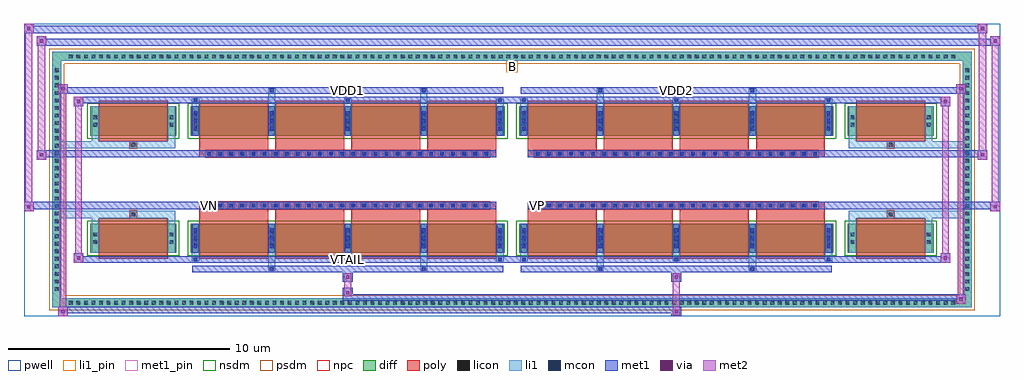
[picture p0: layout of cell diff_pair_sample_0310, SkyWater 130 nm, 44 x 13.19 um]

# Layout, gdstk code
import gdstk
lib = gdstk.Library(unit=1e-6, precision=5e-09)
def R(c, l, rs):  # rectangles x0, y0, x1, y1
    for r in rs: c.add(gdstk.rectangle(r[:2], r[2:], *l))
def A(c, l, x, y, w, h, nx, ny, dx, dy):  # array of equal rectangles
    R(c, l, [(x+i*dx, y+j*dy, x+i*dx+w, y+j*dy+h) for i in range(nx) for j in range(ny)])
def P(c, l, *ps):  # polygons
    for p in ps: c.add(gdstk.Polygon(p, *l))
pwell = (64, 44)
diff = (65, 20)
poly = (66, 20)
licon = (66, 44)
li1_pin = (67, 16)
li1 = (67, 20)
mcon = (67, 44)
met1_pin = (68, 16)
met1 = (68, 20)
via = (68, 44)
met2 = (69, 20)
nsdm = (93, 44)
psdm = (94, 20)
npc = (95, 20)

diff_pair_sample_0310 = lib.new_cell('diff_pair_sample_0310')
R(diff_pair_sample_0310, pwell, [(-22,-6.16,22,7.03), (-19.32,-4.35,-0.01,-0.805), (0.01,-4.35,19.32,-0.805), (-19.32,0.805,-0.01,4.35), (0.01,0.805,19.32,4.35)])
A(diff_pair_sample_0310, diff, -20.095, -5.76, 0.41, 0.41, 118, 2, 0.34, 11.11)
A(diff_pair_sample_0310, diff, -20.73, -5.135, 0.41, 0.41, 1, 30, 0, 0.34)
A(diff_pair_sample_0310, diff, 20.32, -5.135, 0.41, 0.41, 1, 30, 0, 0.34)
R(diff_pair_sample_0310, diff, [(-20.095,-5.76,20.095,-5.35), (-20.73,-5.135,-20.32,5.135), (20.32,-5.135,20.73,5.135), (-19.01,-3.305,-15.13,-1.985), (-14.49,-3.305,-0.32,-1.985), (0.32,-3.305,14.49,-1.985), (15.13,-3.305,19.01,-1.985), (-19.01,1.985,-15.13,3.305), (-14.49,1.985,-0.32,3.305), (0.32,1.985,14.49,3.305), (15.13,1.985,19.01,3.305), (-20.095,5.35,20.095,5.76)])
P(diff_pair_sample_0310, diff, [(20.73,5.76),(-20.73,5.76),(-20.73,-5.35),(-20.32,-5.35),(-20.32,5.35),(20.32,5.35),(20.32,-5.35),(-20.32,-5.35),(-20.73,-5.35),(-20.73,-5.76),(20.73,-5.76)])
A(diff_pair_sample_0310, poly, -14.1, -3.555, 3.1, 1.82, 4, 2, 3.43, 5.29)
A(diff_pair_sample_0310, poly, 0.71, -3.555, 3.1, 1.82, 4, 2, 3.43, 5.29)
A(diff_pair_sample_0310, poly, -14.1, -1.735, 3.1, 0.4, 4, 2, 3.43, 3.07)
A(diff_pair_sample_0310, poly, 0.71, -1.735, 3.1, 0.4, 4, 2, 3.43, 3.07)
A(diff_pair_sample_0310, poly, -13.82, -1.335, 0.33, 0.33, 26, 2, 0.5, 2.34)
A(diff_pair_sample_0310, poly, 0.99, -1.335, 0.33, 0.33, 26, 2, 0.5, 2.34)
R(diff_pair_sample_0310, poly, [(-18.62,-3.555,-15.52,-1.735), (15.52,-3.555,18.62,-1.735), (-17.235,-1.735,-16.905,-1.405), (-17.235,-1.735,-16.905,-1.405), (16.905,-1.735,17.235,-1.405), (16.905,-1.735,17.235,-1.405), (-14.1,-1.335,-0.71,-1.005), (0.71,-1.335,14.1,-1.005), (-14.1,1.005,-0.71,1.335), (0.71,1.005,14.1,1.335), (-17.235,1.405,-16.905,1.735), (-17.235,1.405,-16.905,1.735), (16.905,1.405,17.235,1.735), (16.905,1.405,17.235,1.735), (-18.62,1.735,-15.52,3.555), (15.52,1.735,18.62,3.555)])
A(diff_pair_sample_0310, licon, -19.975, -5.64, 0.17, 0.17, 118, 2, 0.34, 11.11)
A(diff_pair_sample_0310, licon, -20.61, -5.015, 0.17, 0.17, 1, 30, 0, 0.34)
A(diff_pair_sample_0310, licon, 20.44, -5.015, 0.17, 0.17, 1, 30, 0, 0.34)
A(diff_pair_sample_0310, licon, -14.35, -2.9, 0.17, 0.17, 5, 2, 3.43, 0.34)
A(diff_pair_sample_0310, licon, 0.46, -2.9, 0.17, 0.17, 5, 2, 3.43, 0.34)
A(diff_pair_sample_0310, licon, -13.74, -1.255, 0.17, 0.17, 26, 2, 0.5, 2.34)
A(diff_pair_sample_0310, licon, 1.07, -1.255, 0.17, 0.17, 26, 2, 0.5, 2.34)
A(diff_pair_sample_0310, licon, -14.35, 2.39, 0.17, 0.17, 5, 2, 3.43, 0.34)
A(diff_pair_sample_0310, licon, 0.46, 2.39, 0.17, 0.17, 5, 2, 3.43, 0.34)
R(diff_pair_sample_0310, licon, [(-18.87,-2.9,-18.7,-2.73), (-15.44,-2.9,-15.27,-2.73), (15.27,-2.9,15.44,-2.73), (18.7,-2.9,18.87,-2.73), (-18.87,-2.56,-18.7,-2.39), (-15.44,-2.56,-15.27,-2.39), (15.27,-2.56,15.44,-2.39), (18.7,-2.56,18.87,-2.39), (-17.155,-1.655,-16.985,-1.485), (16.985,-1.655,17.155,-1.485), (-17.155,1.485,-16.985,1.655), (16.985,1.485,17.155,1.655), (-18.87,2.39,-18.7,2.56), (-15.44,2.39,-15.27,2.56), (15.27,2.39,15.44,2.56), (18.7,2.39,18.87,2.56), (-18.87,2.73,-18.7,2.9), (-15.44,2.73,-15.27,2.9), (15.27,2.73,15.44,2.9), (18.7,2.73,18.87,2.9)])
R(diff_pair_sample_0310, li1_pin, [(-0.25,4.85,0.25,5.35)])
A(diff_pair_sample_0310, li1, -20.055, -5.72, 0.33, 0.33, 118, 2, 0.34, 11.11)
A(diff_pair_sample_0310, li1, -20.69, -5.095, 0.33, 0.33, 1, 30, 0, 0.34)
A(diff_pair_sample_0310, li1, 20.36, -5.095, 0.33, 0.33, 1, 30, 0, 0.34)
A(diff_pair_sample_0310, li1, -14.43, -3.68, 0.33, 0.375, 3, 2, 6.86, 6.985)
A(diff_pair_sample_0310, li1, -14.35, -3.68, 0.17, 0.17, 3, 2, 6.86, 7.19)
A(diff_pair_sample_0310, li1, 0.38, -3.68, 0.33, 0.375, 3, 2, 6.86, 6.985)
A(diff_pair_sample_0310, li1, 0.46, -3.68, 0.17, 0.17, 3, 2, 6.86, 7.19)
A(diff_pair_sample_0310, li1, -14.43, -3.305, 0.33, 1.32, 5, 2, 3.43, 5.29)
A(diff_pair_sample_0310, li1, 0.38, -3.305, 0.33, 1.32, 5, 2, 3.43, 5.29)
A(diff_pair_sample_0310, li1, -14.35, -3.09, 0.17, 0.17, 5, 3, 3.43, 0.36)
A(diff_pair_sample_0310, li1, -14.35, -3.09, 0.17, 0.89, 5, 2, 3.43, 5.29)
A(diff_pair_sample_0310, li1, 0.46, -3.09, 0.17, 0.17, 5, 3, 3.43, 0.36)
A(diff_pair_sample_0310, li1, 0.46, -3.09, 0.17, 0.89, 5, 2, 3.43, 5.29)
A(diff_pair_sample_0310, li1, -14.43, -2.98, 0.33, 0.33, 5, 2, 3.43, 0.34)
A(diff_pair_sample_0310, li1, 0.38, -2.98, 0.33, 0.33, 5, 2, 3.43, 0.34)
A(diff_pair_sample_0310, li1, -13.82, -1.335, 0.33, 0.33, 26, 2, 0.5, 2.34)
A(diff_pair_sample_0310, li1, 0.99, -1.335, 0.33, 0.33, 26, 2, 0.5, 2.34)
A(diff_pair_sample_0310, li1, -14.35, 2.2, 0.17, 0.17, 5, 3, 3.43, 0.36)
A(diff_pair_sample_0310, li1, 0.46, 2.2, 0.17, 0.17, 5, 3, 3.43, 0.36)
A(diff_pair_sample_0310, li1, -14.43, 2.31, 0.33, 0.33, 5, 2, 3.43, 0.34)
A(diff_pair_sample_0310, li1, 0.38, 2.31, 0.33, 0.33, 5, 2, 3.43, 0.34)
R(diff_pair_sample_0310, li1, [(-20.73,-5.76,-20.32,-5.35), (-20.73,-5.76,-20.32,-5.35), (-20.32,-5.76,20.32,-5.35), (20.32,-5.76,20.73,-5.35), (20.32,-5.76,20.73,-5.35), (-20.73,-5.35,-20.32,5.35), (20.32,-5.35,20.73,5.35), (-11,-4.11,-10.67,-3.305), (-10.92,-4.11,-10.75,-3.94), (-4.14,-4.11,-3.81,-3.305), (-4.06,-4.11,-3.89,-3.94), (3.81,-4.11,4.14,-3.305), (3.89,-4.11,4.06,-3.94), (10.67,-4.11,11,-3.305), (10.75,-4.11,10.92,-3.94), (-18.95,-3.305,-18.62,-1.985), (-15.52,-3.305,-15.19,-1.985), (15.19,-3.305,15.52,-1.985), (18.62,-3.305,18.95,-1.985), (-18.95,-2.98,-18.62,-2.65), (-15.52,-2.98,-15.19,-2.65), (15.19,-2.98,15.52,-2.65), (18.62,-2.98,18.95,-2.65), (-18.95,-2.64,-18.62,-2.31), (-15.52,-2.64,-15.19,-2.31), (15.19,-2.64,15.52,-2.31), (18.62,-2.64,18.95,-2.31), (-18.95,-1.985,-18.62,-1.405), (-15.52,-1.985,-15.19,-1.405), (15.19,-1.985,15.52,-1.405), (18.62,-1.985,18.95,-1.405), (-20.73,-1.735,-17.235,-1.405), (-18.95,-1.735,-17.235,-1.405), (-17.235,-1.735,-16.905,-1.405), (-16.905,-1.735,-15.19,-1.405), (15.19,-1.735,16.905,-1.405), (16.905,-1.735,17.235,-1.405), (16.905,-1.735,20.73,-1.405), (17.235,-1.735,18.95,-1.405), (-20.73,1.405,-17.235,1.735), (-18.95,1.405,-17.235,1.735), (-18.95,1.405,-18.62,1.985), (-17.235,1.405,-16.905,1.735), (-16.905,1.405,-15.19,1.735), (-15.52,1.405,-15.19,1.985), (15.19,1.405,16.905,1.735), (15.19,1.405,15.52,1.985), (16.905,1.405,17.235,1.735), (16.905,1.405,20.73,1.735), (17.235,1.405,18.95,1.735), (18.62,1.405,18.95,1.985), (-18.95,1.985,-18.62,3.305), (-15.52,1.985,-15.19,3.305), (15.19,1.985,15.52,3.305), (18.62,1.985,18.95,3.305), (-18.95,2.31,-18.62,2.64), (-15.52,2.31,-15.19,2.64), (15.19,2.31,15.52,2.64), (18.62,2.31,18.95,2.64), (-18.95,2.65,-18.62,2.98), (-15.52,2.65,-15.19,2.98), (15.19,2.65,15.52,2.98), (18.62,2.65,18.95,2.98), (-11,3.305,-10.67,4.11), (-4.14,3.305,-3.81,4.11), (3.81,3.305,4.14,4.11), (10.67,3.305,11,4.11), (-10.92,3.94,-10.75,4.11), (-4.06,3.94,-3.89,4.11), (3.89,3.94,4.06,4.11), (10.75,3.94,10.92,4.11), (-20.73,5.35,-20.32,5.76), (-20.73,5.35,-20.32,5.76), (-20.32,5.35,20.32,5.76), (20.32,5.35,20.73,5.76), (20.32,5.35,20.73,5.76)])
A(diff_pair_sample_0310, mcon, -14.35, -3.68, 0.17, 0.17, 3, 2, 6.86, 7.19)
A(diff_pair_sample_0310, mcon, 0.46, -3.68, 0.17, 0.17, 3, 2, 6.86, 7.19)
A(diff_pair_sample_0310, mcon, -14.35, -3.09, 0.17, 0.17, 5, 3, 3.43, 0.36)
A(diff_pair_sample_0310, mcon, 0.46, -3.09, 0.17, 0.17, 5, 3, 3.43, 0.36)
A(diff_pair_sample_0310, mcon, -13.74, -1.255, 0.17, 0.17, 26, 2, 0.5, 2.34)
A(diff_pair_sample_0310, mcon, 1.07, -1.255, 0.17, 0.17, 26, 2, 0.5, 2.34)
A(diff_pair_sample_0310, mcon, -14.35, 2.2, 0.17, 0.17, 5, 3, 3.43, 0.36)
A(diff_pair_sample_0310, mcon, 0.46, 2.2, 0.17, 0.17, 5, 3, 3.43, 0.36)
R(diff_pair_sample_0310, mcon, [(-10.92,-4.11,-10.75,-3.94), (-4.06,-4.11,-3.89,-3.94), (3.89,-4.11,4.06,-3.94), (10.75,-4.11,10.92,-3.94), (-10.92,3.94,-10.75,4.11), (-4.06,3.94,-3.89,4.11), (3.89,3.94,4.06,4.11), (10.75,3.94,10.92,4.11)])
R(diff_pair_sample_0310, met1_pin, [(-7.54,-3.72,-7.27,-3.45), (-13.79,-1.295,-13.52,-1.025), (1.02,-1.295,1.29,-1.025), (-7.54,3.9,-7.27,4.17), (7.27,3.9,7.54,4.17)])
A(diff_pair_sample_0310, met1, -14.41, -3.74, 0.29, 0.29, 3, 2, 6.86, 7.19)
A(diff_pair_sample_0310, met1, 0.4, -3.74, 0.29, 0.29, 3, 2, 6.86, 7.19)
A(diff_pair_sample_0310, met1, -14.41, -3.305, 0.29, 1.32, 5, 2, 3.43, 5.29)
A(diff_pair_sample_0310, met1, 0.4, -3.305, 0.29, 1.32, 5, 2, 3.43, 5.29)
A(diff_pair_sample_0310, met1, -14.41, -3.15, 0.29, 0.29, 5, 3, 3.43, 0.36)
A(diff_pair_sample_0310, met1, 0.4, -3.15, 0.29, 0.29, 5, 3, 3.43, 0.36)
A(diff_pair_sample_0310, met1, -13.8, -1.315, 0.29, 0.29, 26, 2, 0.5, 2.34)
A(diff_pair_sample_0310, met1, 1.01, -1.315, 0.29, 0.29, 26, 2, 0.5, 2.34)
A(diff_pair_sample_0310, met1, -14.41, 2.14, 0.29, 0.29, 5, 3, 3.43, 0.36)
A(diff_pair_sample_0310, met1, 0.4, 2.14, 0.29, 0.29, 5, 3, 3.43, 0.36)
R(diff_pair_sample_0310, met1, [(-20.46,-6.16,-20.03,-5.73), (7.19,-6.16,7.62,-5.73), (-20.46,-6.02,7.62,-5.73), (20.03,-5.59,20.46,-5.16), (-7.62,-5.45,20.46,-5.16), (-7.62,-5.31,-7.19,-4.88), (-7.62,-4.6,-7.19,-4.17), (7.19,-4.6,7.62,-4.17), (-14.41,-4.17,-0.4,-3.88), (-10.98,-4.17,-10.69,-3.88), (-4.12,-4.17,-3.83,-3.88), (0.4,-4.17,14.41,-3.88), (3.83,-4.17,4.12,-3.88), (10.69,-4.17,10.98,-3.88), (-19.75,-3.74,-19.32,-3.31), (-19.75,-3.74,-14.41,-3.45), (-14.41,-3.74,-0.4,-3.45), (-0.4,-3.74,0.4,-3.45), (0.4,-3.74,14.41,-3.45), (14.41,-3.74,19.75,-3.45), (19.32,-3.74,19.75,-3.31), (-22,-1.435,-21.57,-1.005), (21.57,-1.435,22,-1.005), (-22,-1.335,-0.71,-1.005), (-14.1,-1.335,-0.71,-1.005), (0.71,-1.335,14.1,-1.005), (0.71,-1.335,22,-1.005), (-21.43,0.905,-21,1.335), (21,0.905,21.43,1.335), (-21.43,1.005,-14.1,1.335), (-14.1,1.005,-0.71,1.335), (0.71,1.005,14.1,1.335), (14.1,1.005,21.43,1.335), (-19.75,3.31,-19.32,3.74), (19.32,3.31,19.75,3.74), (-19.75,3.45,-14.41,3.74), (-14.41,3.45,-0.4,3.74), (-0.4,3.45,0.4,3.74), (0.4,3.45,14.41,3.74), (14.41,3.45,19.75,3.74), (-20.46,3.88,-20.03,4.31), (-20.46,3.88,-14.41,4.17), (-14.41,3.88,-0.4,4.17), (-10.98,3.88,-10.69,4.17), (-4.12,3.88,-3.83,4.17), (0.4,3.88,14.41,4.17), (3.83,3.88,4.12,4.17), (10.69,3.88,10.98,4.17), (14.41,3.88,20.46,4.17), (20.03,3.88,20.46,4.31), (-21.43,6.03,-21,6.46), (-21.43,6.03,-19.32,6.36), (-19.32,6.03,19.32,6.36), (19.32,6.03,22,6.36), (21.57,6.03,22,6.46), (-22,6.6,-21.57,7.03), (-22,6.6,-19.32,6.93), (-19.32,6.6,19.32,6.93), (19.32,6.6,21.43,6.93), (21,6.6,21.43,7.03)])
R(diff_pair_sample_0310, via, [(-20.32,-6.02,-20.17,-5.87), (7.33,-6.02,7.48,-5.87), (20.17,-5.45,20.32,-5.3), (-7.48,-5.17,-7.33,-5.02), (-7.48,-4.46,-7.33,-4.31), (7.33,-4.46,7.48,-4.31), (-19.61,-3.6,-19.46,-3.45), (19.46,-3.6,19.61,-3.45), (-21.86,-1.295,-21.71,-1.145), (21.71,-1.295,21.86,-1.145), (-21.29,1.045,-21.14,1.195), (21.14,1.045,21.29,1.195), (-19.61,3.45,-19.46,3.6), (19.46,3.45,19.61,3.6), (-20.32,4.02,-20.17,4.17), (20.17,4.02,20.32,4.17), (-21.29,6.17,-21.14,6.32), (21.71,6.17,21.86,6.32), (-21.86,6.74,-21.71,6.89), (21.14,6.74,21.29,6.89)])
R(diff_pair_sample_0310, met2, [(-20.46,-6.16,-20.03,-5.73), (-20.39,-6.16,-20.1,4.31), (-20.1,-6.16,-20.03,-5.73), (-20.41,-6.11,-20.08,-5.78), (7.24,-6.11,7.57,-5.78), (7.24,-5.78,7.57,-4.55), (20.03,-5.59,20.46,-5.16), (20.1,-5.59,20.39,4.31), (20.39,-5.59,20.46,-5.16), (20.08,-5.54,20.41,-5.21), (-7.57,-5.26,-7.24,-4.93), (-7.57,-4.93,-7.24,-4.55), (-7.57,-4.55,-7.24,-4.22), (7.24,-4.55,7.57,-4.22), (-19.75,-3.74,-19.32,-3.31), (-19.68,-3.74,-19.39,3.74), (-19.39,-3.74,-19.32,-3.31), (19.32,-3.74,19.75,-3.31), (19.39,-3.74,19.68,3.74), (19.68,-3.74,19.75,-3.31), (-19.7,-3.69,-19.37,-3.36), (19.37,-3.69,19.7,-3.36), (-22,-1.435,-21.57,-1.005), (-21.95,-1.435,-21.62,7.03), (-21.62,-1.435,-21.57,-1.005), (21.57,-1.435,22,-1.005), (21.62,-1.435,21.95,6.46), (21.95,-1.435,22,-1.005), (-21.95,-1.385,-21.62,-1.055), (21.62,-1.385,21.95,-1.055), (-21.43,0.905,-21,1.335), (-21.38,0.905,-21.05,6.46), (-21.05,0.905,-21,1.335), (21,0.905,21.43,1.335), (21.05,0.905,21.38,7.03), (21.38,0.905,21.43,1.335), (-21.38,0.955,-21.05,1.285), (21.05,0.955,21.38,1.285), (-19.75,3.31,-19.32,3.74), (-19.39,3.31,-19.32,3.74), (19.32,3.31,19.75,3.74), (19.68,3.31,19.75,3.74), (-19.7,3.36,-19.37,3.69), (19.37,3.36,19.7,3.69), (-20.46,3.88,-20.03,4.31), (-20.1,3.88,-20.03,4.31), (20.03,3.88,20.46,4.31), (20.39,3.88,20.46,4.31), (-20.41,3.93,-20.08,4.26), (20.08,3.93,20.41,4.26), (-21.43,6.03,-21,6.46), (-21.05,6.03,-21,6.46), (21.57,6.03,22,6.46), (21.95,6.03,22,6.46), (-21.38,6.08,-21.05,6.41), (21.62,6.08,21.95,6.41), (-22,6.6,-21.57,7.03), (-21.62,6.6,-21.57,7.03), (21,6.6,21.43,7.03), (21.38,6.6,21.43,7.03), (-21.95,6.65,-21.62,6.98), (21.05,6.65,21.38,6.98)])
R(diff_pair_sample_0310, nsdm, [(-19.14,-3.435,-15,-1.855), (-14.62,-3.435,-0.19,-1.855), (0.19,-3.435,14.62,-1.855), (15,-3.435,19.14,-1.855), (-19.14,1.855,-15,3.435), (-14.62,1.855,-0.19,3.435), (0.19,1.855,14.62,3.435), (15,1.855,19.14,3.435)])
P(diff_pair_sample_0310, psdm, [(20.86,5.89),(-20.86,5.89),(-20.86,-5.22),(-20.19,-5.22),(-20.19,5.22),(20.19,5.22),(20.19,-5.22),(-20.19,-5.22),(-20.86,-5.22),(-20.86,-5.89),(20.86,-5.89)])
A(diff_pair_sample_0310, npc, -13.84, -1.355, 0.37, 0.37, 26, 2, 0.5, 2.34)
A(diff_pair_sample_0310, npc, 0.97, -1.355, 0.37, 0.37, 26, 2, 0.5, 2.34)
R(diff_pair_sample_0310, npc, [(-17.255,-1.755,-16.885,-1.385), (16.885,-1.755,17.255,-1.385), (-13.84,-1.355,-12.97,-0.985), (-13.84,-1.355,-12.97,-0.985), (-13.34,-1.355,-12.47,-0.985), (-13.34,-1.355,-12.47,-0.985), (-12.84,-1.355,-11.97,-0.985), (-12.84,-1.355,-11.97,-0.985), (-12.34,-1.355,-11.47,-0.985), (-12.34,-1.355,-11.47,-0.985), (-11.84,-1.355,-10.97,-0.985), (-11.84,-1.355,-10.97,-0.985), (-11.34,-1.355,-10.47,-0.985), (-11.34,-1.355,-10.47,-0.985), (-10.84,-1.355,-9.97,-0.985), (-10.84,-1.355,-9.97,-0.985), (-10.34,-1.355,-9.47,-0.985), (-10.34,-1.355,-9.47,-0.985), (-9.84,-1.355,-8.97,-0.985), (-9.84,-1.355,-8.97,-0.985), (-9.34,-1.355,-8.47,-0.985), (-9.34,-1.355,-8.47,-0.985), (-8.84,-1.355,-7.97,-0.985), (-8.84,-1.355,-7.97,-0.985), (-8.34,-1.355,-7.47,-0.985), (-8.34,-1.355,-7.47,-0.985), (-7.84,-1.355,-6.97,-0.985), (-7.84,-1.355,-6.97,-0.985), (-7.34,-1.355,-6.47,-0.985), (-7.34,-1.355,-6.47,-0.985), (-6.84,-1.355,-5.97,-0.985), (-6.84,-1.355,-5.97,-0.985), (-6.34,-1.355,-5.47,-0.985), (-6.34,-1.355,-5.47,-0.985), (-5.84,-1.355,-4.97,-0.985), (-5.84,-1.355,-4.97,-0.985), (-5.34,-1.355,-4.47,-0.985), (-5.34,-1.355,-4.47,-0.985), (-4.84,-1.355,-3.97,-0.985), (-4.84,-1.355,-3.97,-0.985), (-4.34,-1.355,-3.47,-0.985), (-4.34,-1.355,-3.47,-0.985), (-3.84,-1.355,-2.97,-0.985), (-3.84,-1.355,-2.97,-0.985), (-3.34,-1.355,-2.47,-0.985), (-3.34,-1.355,-2.47,-0.985), (-2.84,-1.355,-1.97,-0.985), (-2.84,-1.355,-1.97,-0.985), (-2.34,-1.355,-1.47,-0.985), (-2.34,-1.355,-1.47,-0.985), (-1.84,-1.355,-0.97,-0.985), (-1.84,-1.355,-0.97,-0.985), (0.97,-1.355,1.84,-0.985), (0.97,-1.355,1.84,-0.985), (1.47,-1.355,2.34,-0.985), (1.47,-1.355,2.34,-0.985), (1.97,-1.355,2.84,-0.985), (1.97,-1.355,2.84,-0.985), (2.47,-1.355,3.34,-0.985), (2.47,-1.355,3.34,-0.985), (2.97,-1.355,3.84,-0.985), (2.97,-1.355,3.84,-0.985), (3.47,-1.355,4.34,-0.985), (3.47,-1.355,4.34,-0.985), (3.97,-1.355,4.84,-0.985), (3.97,-1.355,4.84,-0.985), (4.47,-1.355,5.34,-0.985), (4.47,-1.355,5.34,-0.985), (4.97,-1.355,5.84,-0.985), (4.97,-1.355,5.84,-0.985), (5.47,-1.355,6.34,-0.985), (5.47,-1.355,6.34,-0.985), (5.97,-1.355,6.84,-0.985), (5.97,-1.355,6.84,-0.985), (6.47,-1.355,7.34,-0.985), (6.47,-1.355,7.34,-0.985), (6.97,-1.355,7.84,-0.985), (6.97,-1.355,7.84,-0.985), (7.47,-1.355,8.34,-0.985), (7.47,-1.355,8.34,-0.985), (7.97,-1.355,8.84,-0.985), (7.97,-1.355,8.84,-0.985), (8.47,-1.355,9.34,-0.985), (8.47,-1.355,9.34,-0.985), (8.97,-1.355,9.84,-0.985), (8.97,-1.355,9.84,-0.985), (9.47,-1.355,10.34,-0.985), (9.47,-1.355,10.34,-0.985), (9.97,-1.355,10.84,-0.985), (9.97,-1.355,10.84,-0.985), (10.47,-1.355,11.34,-0.985), (10.47,-1.355,11.34,-0.985), (10.97,-1.355,11.84,-0.985), (10.97,-1.355,11.84,-0.985), (11.47,-1.355,12.34,-0.985), (11.47,-1.355,12.34,-0.985), (11.97,-1.355,12.84,-0.985), (11.97,-1.355,12.84,-0.985), (12.47,-1.355,13.34,-0.985), (12.47,-1.355,13.34,-0.985), (12.97,-1.355,13.84,-0.985), (12.97,-1.355,13.84,-0.985), (-13.84,0.985,-12.97,1.355), (-13.84,0.985,-12.97,1.355), (-13.34,0.985,-12.47,1.355), (-13.34,0.985,-12.47,1.355), (-12.84,0.985,-11.97,1.355), (-12.84,0.985,-11.97,1.355), (-12.34,0.985,-11.47,1.355), (-12.34,0.985,-11.47,1.355), (-11.84,0.985,-10.97,1.355), (-11.84,0.985,-10.97,1.355), (-11.34,0.985,-10.47,1.355), (-11.34,0.985,-10.47,1.355), (-10.84,0.985,-9.97,1.355), (-10.84,0.985,-9.97,1.355), (-10.34,0.985,-9.47,1.355), (-10.34,0.985,-9.47,1.355), (-9.84,0.985,-8.97,1.355), (-9.84,0.985,-8.97,1.355), (-9.34,0.985,-8.47,1.355), (-9.34,0.985,-8.47,1.355), (-8.84,0.985,-7.97,1.355), (-8.84,0.985,-7.97,1.355), (-8.34,0.985,-7.47,1.355), (-8.34,0.985,-7.47,1.355), (-7.84,0.985,-6.97,1.355), (-7.84,0.985,-6.97,1.355), (-7.34,0.985,-6.47,1.355), (-7.34,0.985,-6.47,1.355), (-6.84,0.985,-5.97,1.355), (-6.84,0.985,-5.97,1.355), (-6.34,0.985,-5.47,1.355), (-6.34,0.985,-5.47,1.355), (-5.84,0.985,-4.97,1.355), (-5.84,0.985,-4.97,1.355), (-5.34,0.985,-4.47,1.355), (-5.34,0.985,-4.47,1.355), (-4.84,0.985,-3.97,1.355), (-4.84,0.985,-3.97,1.355), (-4.34,0.985,-3.47,1.355), (-4.34,0.985,-3.47,1.355), (-3.84,0.985,-2.97,1.355), (-3.84,0.985,-2.97,1.355), (-3.34,0.985,-2.47,1.355), (-3.34,0.985,-2.47,1.355), (-2.84,0.985,-1.97,1.355), (-2.84,0.985,-1.97,1.355), (-2.34,0.985,-1.47,1.355), (-2.34,0.985,-1.47,1.355), (-1.84,0.985,-0.97,1.355), (-1.84,0.985,-0.97,1.355), (0.97,0.985,1.84,1.355), (0.97,0.985,1.84,1.355), (1.47,0.985,2.34,1.355), (1.47,0.985,2.34,1.355), (1.97,0.985,2.84,1.355), (1.97,0.985,2.84,1.355), (2.47,0.985,3.34,1.355), (2.47,0.985,3.34,1.355), (2.97,0.985,3.84,1.355), (2.97,0.985,3.84,1.355), (3.47,0.985,4.34,1.355), (3.47,0.985,4.34,1.355), (3.97,0.985,4.84,1.355), (3.97,0.985,4.84,1.355), (4.47,0.985,5.34,1.355), (4.47,0.985,5.34,1.355), (4.97,0.985,5.84,1.355), (4.97,0.985,5.84,1.355), (5.47,0.985,6.34,1.355), (5.47,0.985,6.34,1.355), (5.97,0.985,6.84,1.355), (5.97,0.985,6.84,1.355), (6.47,0.985,7.34,1.355), (6.47,0.985,7.34,1.355), (6.97,0.985,7.84,1.355), (6.97,0.985,7.84,1.355), (7.47,0.985,8.34,1.355), (7.47,0.985,8.34,1.355), (7.97,0.985,8.84,1.355), (7.97,0.985,8.84,1.355), (8.47,0.985,9.34,1.355), (8.47,0.985,9.34,1.355), (8.97,0.985,9.84,1.355), (8.97,0.985,9.84,1.355), (9.47,0.985,10.34,1.355), (9.47,0.985,10.34,1.355), (9.97,0.985,10.84,1.355), (9.97,0.985,10.84,1.355), (10.47,0.985,11.34,1.355), (10.47,0.985,11.34,1.355), (10.97,0.985,11.84,1.355), (10.97,0.985,11.84,1.355), (11.47,0.985,12.34,1.355), (11.47,0.985,12.34,1.355), (11.97,0.985,12.84,1.355), (11.97,0.985,12.84,1.355), (12.47,0.985,13.34,1.355), (12.47,0.985,13.34,1.355), (12.97,0.985,13.84,1.355), (12.97,0.985,13.84,1.355), (-17.255,1.385,-16.885,1.755), (16.885,1.385,17.255,1.755)])
diff_pair_sample_0310.add(gdstk.Label('VTAIL', (-7.405,-3.585), layer=68, texttype=5))
diff_pair_sample_0310.add(gdstk.Label('VN', (-13.655,-1.16), layer=68, texttype=5))
diff_pair_sample_0310.add(gdstk.Label('VP', (1.155,-1.16), layer=68, texttype=5))
diff_pair_sample_0310.add(gdstk.Label('B', (0,5.1), layer=67, texttype=5))
diff_pair_sample_0310.add(gdstk.Label('VDD2', (7.405,4.035), layer=68, texttype=5))
diff_pair_sample_0310.add(gdstk.Label('VDD1', (-7.405,4.035), layer=68, texttype=5))

lib.write_gds('diff_pair_sample_0310.gds')
